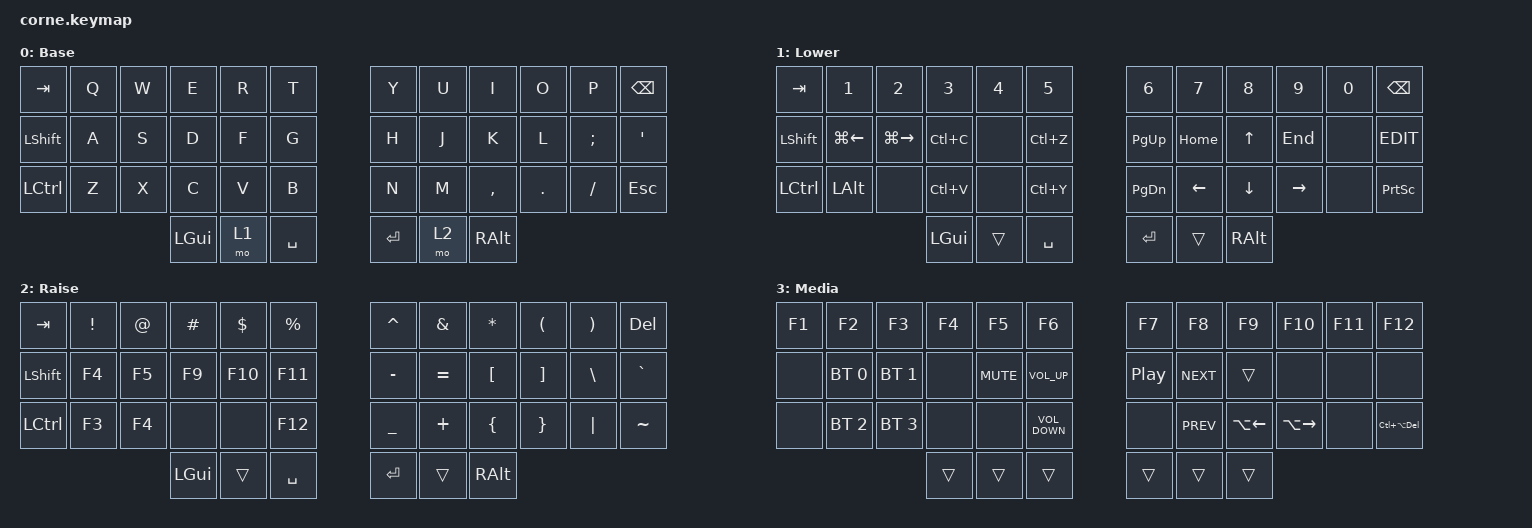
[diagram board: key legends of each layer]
/*
 * Copyright (c) 2020 The ZMK Contributors
 *
 * SPDX-License-Identifier: MIT
 */

#include <behaviors.dtsi>
#include <dt-bindings/zmk/bt.h>
#include <dt-bindings/zmk/keys.h>

/ {
    combos {
        compatible = "zmk,combos";

        CtrlAltDelete {
            bindings = <&kp LC(LA(DELETE))>;
            key-positions = <24 35>;
        };

        resetBluetoothProfile {
            bindings = <&bt BT_CLR>;
            key-positions = <37 40 19 22 13 16>;
        };
    };

    keymap {
        compatible = "zmk,keymap";

        default_layer {
            display-name = "Base";

            // -----------------------------------------------------------------------------------------
            // |  TAB |  Q  |  W  |  E  |  R  |  T  |   |  Y  |  U   |  I  |  O  |  P  | BKSP |
            // | CTRL |  A  |  S  |  D  |  F  |  G  |   |  H  |  J   |  K  |  L  |  ;  |  '   |
            // | SHFT |  Z  |  X  |  C  |  V  |  B  |   |  N  |  M   |  ,  |  .  |  /  | ESC  |
            //                    | GUI | LWR | SPC |   | ENT | RSE  | ALT |

            bindings = <
&kp TAB     &kp Q  &kp W  &kp E     &kp R  &kp T        &kp Y    &kp U  &kp I      &kp O    &kp P     &kp BSPC
&kp LSHIFT  &kp A  &kp S  &kp D     &kp F  &kp G        &kp H    &kp J  &kp K      &kp L    &kp SEMI  &kp SQT
&kp LCTRL   &kp Z  &kp X  &kp C     &kp V  &kp B        &kp N    &kp M  &kp COMMA  &kp DOT  &kp FSLH  &kp ESC
                          &kp LGUI  &mo 1  &kp SPACE    &kp RET  &mo 2  &kp RALT
            >;
        };

        lower_layer {
            display-name = "Lower";

            // -----------------------------------------------------------------------------------------
            // |  TAB |  1  |  2  |  3  |  4  |  5  |   |  6  |  7  |  8  |  9  |  0  | BKSP |
            // | BTCLR| BT1 | BT2 | BT3 | BT4 | BT5 |   | LFT | DWN |  UP | RGT |     |      |
            // | SHFT |     |     |     |     |     |   |     |     |     |     |     |      |
            //                    | GUI |     | SPC |   | ENT |     | ALT |

            bindings = <
&kp TAB    &kp N1        &kp N2         &kp N3     &kp N4  &kp N5       &kp N6         &kp N7    &kp N8    &kp N9     &kp N0  &kp BSPC
&kp LSHFT  &kp LG(LEFT)  &kp LG(RIGHT)  &kp LC(C)  &none   &kp LC(Z)    &kp PAGE_UP    &kp HOME  &kp UP    &kp END    &none   &kp K_EDIT
&kp LCTRL  &kp LEFT_ALT  &none          &kp LC(V)  &none   &kp LC(Y)    &kp PAGE_DOWN  &kp LEFT  &kp DOWN  &kp RIGHT  &none   &kp PRINTSCREEN
                                        &kp LGUI   &trans  &kp SPACE    &kp RET        &trans    &kp RALT
            >;
        };

        raise_layer {
            display-name = "Raise";

            // -----------------------------------------------------------------------------------------
            // |  TAB |  !  |  @  |  #  |  $  |  %  |   |  ^  |  &  |  *  |  (  |  )  | BKSP |
            // | CTRL |     |     |     |     |     |   |  -  |  =  |  [  |  ]  |  \  |  `   |
            // | SHFT |     |     |     |     |     |   |  _  |  +  |  {  |  }  | "|" |  ~   |
            //                    | GUI |     | SPC |   | ENT |     | ALT |

            bindings = <
&kp TAB     &kp EXCL  &kp AT  &kp HASH  &kp DLLR  &kp PRCNT    &kp CARET  &kp AMPS   &kp ASTRK  &kp LPAR  &kp RPAR  &kp DELETE
&kp LSHIFT  &kp F4    &kp F5  &kp F9    &kp F10   &kp F11      &kp MINUS  &kp EQUAL  &kp LBKT   &kp RBKT  &kp BSLH  &kp GRAVE
&kp LCTRL   &kp F3    &kp F4  &none     &none     &kp F12      &kp UNDER  &kp PLUS   &kp LBRC   &kp RBRC  &kp PIPE  &kp TILDE
                              &kp LGUI  &trans    &kp SPACE    &kp RET    &trans     &kp RALT
            >;
        };

        media_layer {
            display-name = "Media";
            bindings = <
&kp F1  &kp F2        &kp F3        &kp F4  &kp F5      &kp F6               &kp F7            &kp F8      &kp F9              &kp F10        &kp F11  &kp F12
&none   &bt BT_SEL 0  &bt BT_SEL 1  &none   &kp K_MUTE  &kp C_VOLUME_UP      &kp C_PLAY_PAUSE  &kp C_NEXT  &trans              &none          &none    &none
&none   &bt BT_SEL 2  &bt BT_SEL 3  &none   &none       &kp C_VOLUME_DOWN    &none             &kp C_PREV  &kp LA(LEFT_ARROW)  &kp LA(RIGHT)  &none    &kp LC(LA(DEL))
                                    &trans  &trans      &trans               &trans            &trans      &trans
            >;
        };
    };

    conditional_layers {
        compatible = "zmk,conditional-layers";

        ToggleMedia {
            if-layers = <1 2>;
            then-layer = <3>;
        };
    };
};
